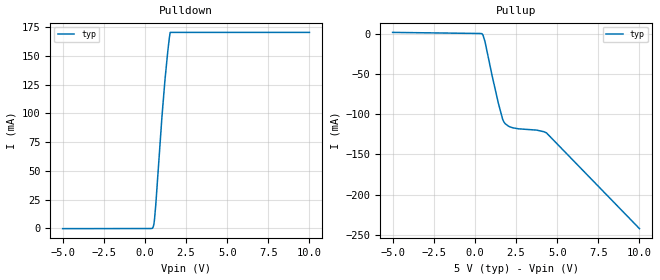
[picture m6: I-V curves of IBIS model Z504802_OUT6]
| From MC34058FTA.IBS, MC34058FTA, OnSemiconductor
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| (C) COPYRIGHT 1993-2000
| MENTOR GRAPHICS CORPORATION
| ICX STANDARD LIBRARY, ICX PROJECT MODELING,
| ICX CUSTOM MODELING, ICX VENDOR MODEL
| ALL RIGHTS RESERVED.
| THE FOLLOWING ARE TRADEMARKS OR SERVICE MARKS OF
| MENTOR GRAPHICS CORPORATION:ICX (R), ICX STANDARD
| LIBRARY(R), ICX PROJECT MODELING(R), ICX CUSTOM
| MODELING(R), qualityIBIS(TM), MODELVIEWER(TM),
| AND MODELEDITOR(TM)
| ALL COPIES OF SOFTWARE, INCLUDING BUT NOT LIMITED TO
| ANY MODIFICATIONS, ENHANCEMENTS OR DERIVATIVE WORKS,
| MUST CONTAIN ALL MENTOR GRAPHICS CORPORATION'S
| NOTICES AND LEGENDS, INCLUDING THOSE EMBEDDED IN
| SOFTWARE AND THOSE AFFIXED TO SOFTWARE MEDIUM
| AND CONTAINER, AS RECEIVED FROM MENTOR GRAPHICS
| CORPORATION.
| Model Application Version 1.89 2/18/99.
[Model] Z504802_OUT6
Model_type Output
Vref=2.300V
Rref=27.00ohms
Cref=15.00pF
Vmeas=2.000V
C_comp 8.000pF NA NA
| variable typ   min   max
[Voltage Range] 5.000V NA NA
[POWER Clamp Reference] 5.000V NA NA
[Pullup Reference] 5.000V NA NA
[Pulldown Reference] 0.000V NA NA
[GND Clamp Reference] 0.000V NA NA
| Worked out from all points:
|   slope of the pulldown table from 0 to 0.75 V, typ, clamps not added: 19.3 ohm
|   slope of the pullup table from 0 to 0.75 V, typ, clamps not added: 31.9 ohm
[GND Clamp]
-5V       0A         NA         NA
10V       0A         NA         NA
[Pulldown]
-5V       -152.5uA   NA         NA
467.9mV   307.6uA    NA         NA
505.1mV   1.338mA    NA         NA
546.9mV   3.766mA    NA         NA
581.3mV   7.633mA    NA         NA
663.7mV   21.19mA    NA         NA
1.038V    97.54mA    NA         NA
1.222V    129.6mA    NA         NA
1.396V    154.7mA    NA         NA
1.485V    165.7mA    NA         NA
1.538V    170.4mA    NA         NA
10V       170.4mA    NA         NA
[Pullup]
-5V       1.466mA    NA         NA
424mV     -131uA     NA         NA
485mV     -1.411mA   NA         NA
614mV     -10.01mA   NA         NA
1.044V    -52.15mA   NA         NA
1.426V    -86.61mA   NA         NA
1.687V    -106.5mA   NA         NA
1.842V    -112mA     NA         NA
2.316V    -117.1mA   NA         NA
3.754V    -119.9mA   NA         NA
4.351V    -123.4mA   NA         NA
10V       -242.3mA   NA         NA
[POWER Clamp]
-5V       0A         NA         NA
10V       0A         NA         NA
[Ramp]
| variable typ min max
dV/dt_r 2.631/3.853n NA NA
dV/dt_f 2.631/4.194n NA NA
R_load = 500.0Ohms
